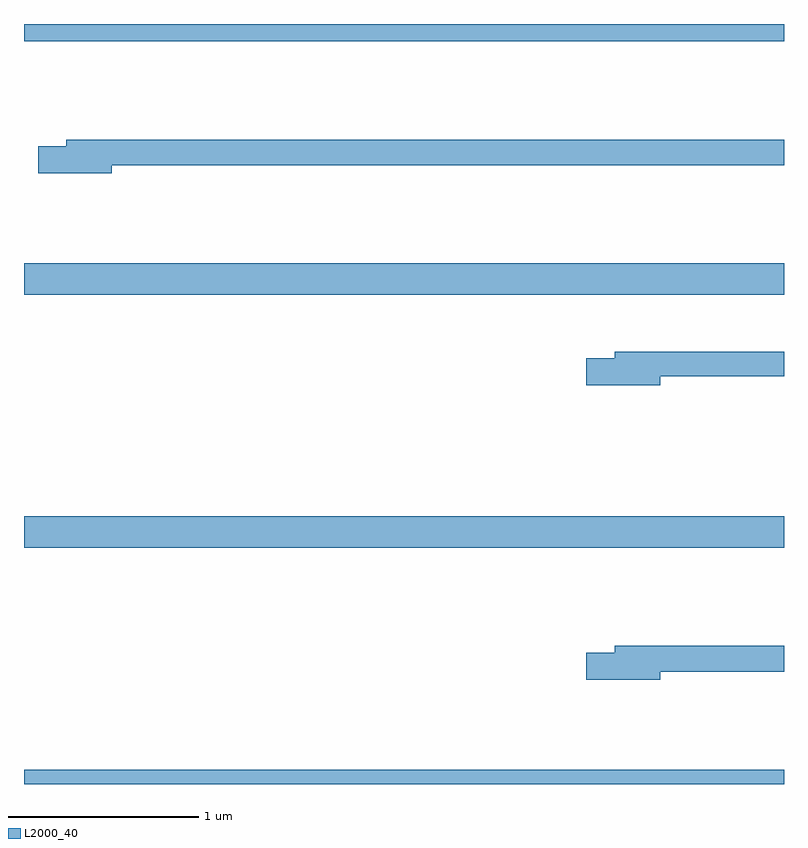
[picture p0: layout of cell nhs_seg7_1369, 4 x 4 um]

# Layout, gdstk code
import gdstk
lib = gdstk.Library(unit=1e-6, precision=1e-09)
def R(c, l, rs):  # rectangles x0, y0, x1, y1
    for r in rs: c.add(gdstk.rectangle(r[:2], r[2:], *l))
def P(c, l, *ps):  # polygons
    for p in ps: c.add(gdstk.Polygon(p, *l))
L2000_40 = (2000, 40)

nhs_seg7_1369 = lib.new_cell('nhs_seg7_1369')
R(nhs_seg7_1369, L2000_40, [(205,1038,209,1038.076), (205,1039.244,209,1039.408), (205,1040.576,209,1040.74), (205,1041.908,209,1042)])
P(nhs_seg7_1369, L2000_40, [(205.462,1041.256),(209,1041.256),(209,1041.392),(205.223,1041.392),(205.223,1041.356),(205.074,1041.356),(205.074,1041.214),(205.462,1041.214)],
  [(208.348,1040.146),(209,1040.146),(209,1040.275),(208.109,1040.275),(208.109,1040.241),(207.96,1040.241),(207.96,1040.099),(208.348,1040.099)],
  [(208.348,1038.592),(209,1038.592),(209,1038.728),(208.109,1038.728),(208.109,1038.692),(207.96,1038.692),(207.96,1038.55),(208.348,1038.55)])

lib.write_gds('nhs_seg7_1369.gds')
